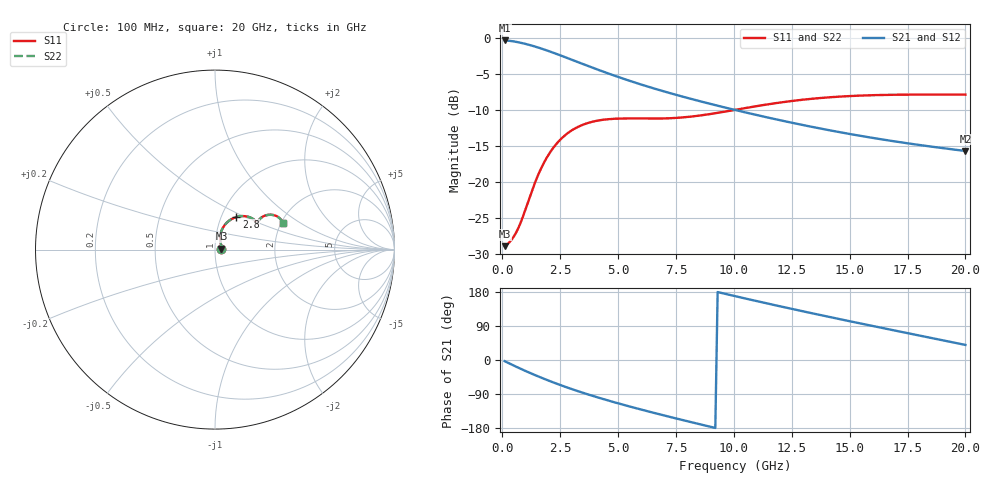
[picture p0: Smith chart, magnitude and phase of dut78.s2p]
! Touchstone file exported from HFSS 2024.1.0
!  File:  C:/UserFiles/LocalFiles/RDL_TSV_Batchsim/temp_RDL_TSV_78_1779413601.aedt
!  Generated:  09:55:48 AM May 22, 2026
!  Design:  RDL_TSV
!  Project:  temp_RDL_TSV_78_1779413601
!  Setup:  Setup1
!  Solution:  Sweep
! Variables:
!  dtsv = 14.8um
!  hbump = 3um
!  htsv = 95.81um
!  ldown = 659.65um
!  lrdl = 594.34um
!  p = 40
!  p1 = 55.21um
!  rhole = 10um
!  subl = 4356.31um
!  t = 450um
!  tdown = 2.88um
!  trdl = 3.98um
!  viad = 10um
!  wdown = 10.67um
!  wrdl = 14.83um
!  xbump = 18um
# GHz S MA R 50.000000
! Terminal data exported
! Port[1] = TM1_1_T1
! Port[2] = TM1_4_T1
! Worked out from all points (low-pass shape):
!   200 points, 100 MHz to 20 GHz, reference 50 ohm
!   highest |S21| = -0.32 dB at 100 MHz (marker M1); lowest = -15.7 dB at 20 GHz (marker M2)
!   |S21| within 3 dB of the highest: start of sweep to 3.261 GHz
!   lowest |S11| = -28.9 dB at 100 MHz (marker M3), VSWR 1.07, Z = 53.7 + j0.53 ohm
!   |S11| at or under -10 dB: start of sweep to 9.989 GHz
!   |S22| runs from -28.9 to -7.9 dB; largest |S21 - S12| = 1.1e-14
!   S11 on the Smith chart (normalised r, x): 100 MHz: 1.07, +0.01; 2.8 GHz: 1.18, +0.45; 20 GHz: 2.04, +0.73
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0.1  0.03587 7.9  0.9637 -3.0  0.9637 -3.0  0.03587 7.9
! Gamma 0 0 0 0
! Port Impedance 50 0 50 0
0.4  0.03979 29.7  0.9541 -11.9  0.9541 -11.9  0.0398 29.8
0.7  0.0482 49.0  0.9359 -20.6  0.9359 -20.6  0.04823 49.0
1.1  0.07186 66.4  0.9036 -31.6  0.9036 -31.6  0.07183 66.4
1.4  0.09795 70.8  0.8755 -39.5  0.8755 -39.5  0.0979 70.8
1.7  0.1268 70.3  0.8452 -47.1  0.8452 -47.1  0.1267 70.3
2  0.1551 67.5  0.8136 -54.4  0.8136 -54.4  0.1552 67.5
2.4  0.1892 62.3  0.7708 -63.7  0.7708 -63.7  0.1892 62.3
2.8  0.2171 56.7  0.7287 -72.5  0.7287 -72.5  0.2172 56.7
3.5  0.251 47.8  0.6594 -86.9  0.6594 -86.9  0.2512 47.8
4.2  0.2688 40.8  0.5979 -100.2  0.5979 -100.2  0.269 40.8
5  0.276 35.3  0.5378 -114.3  0.5378 -114.3  0.2764 35.3
5.9  0.2764 32.2  0.4816 -129.2  0.4816 -129.2  0.2768 32.1
6.8  0.2763 31.5  0.435 -143.5  0.435 -143.5  0.2766 31.5
8.3  0.2869 33.3  0.373 -166.1  0.373 -166.1  0.2871 33.2
10.1  0.3185 34.7  0.3157 167.9  0.3157 167.9  0.3185 34.5
11.7  0.3514 33.4  0.2755 145.7  0.2755 145.7  0.3513 33.3
13.4  0.3795 30.4  0.2414 123.0  0.2414 123.0  0.3793 30.3
15  0.3959 27.3  0.2159 102.4  0.2159 102.4  0.3956 27.2
16.7  0.4038 24.5  0.1944 80.9  0.1944 80.9  0.4034 24.4
18.4  0.4054 22.6  0.1775 59.7  0.1775 59.7  0.405 22.4
20  0.4053 21.6  0.1645 39.8  0.1645 39.8  0.4048 21.5
